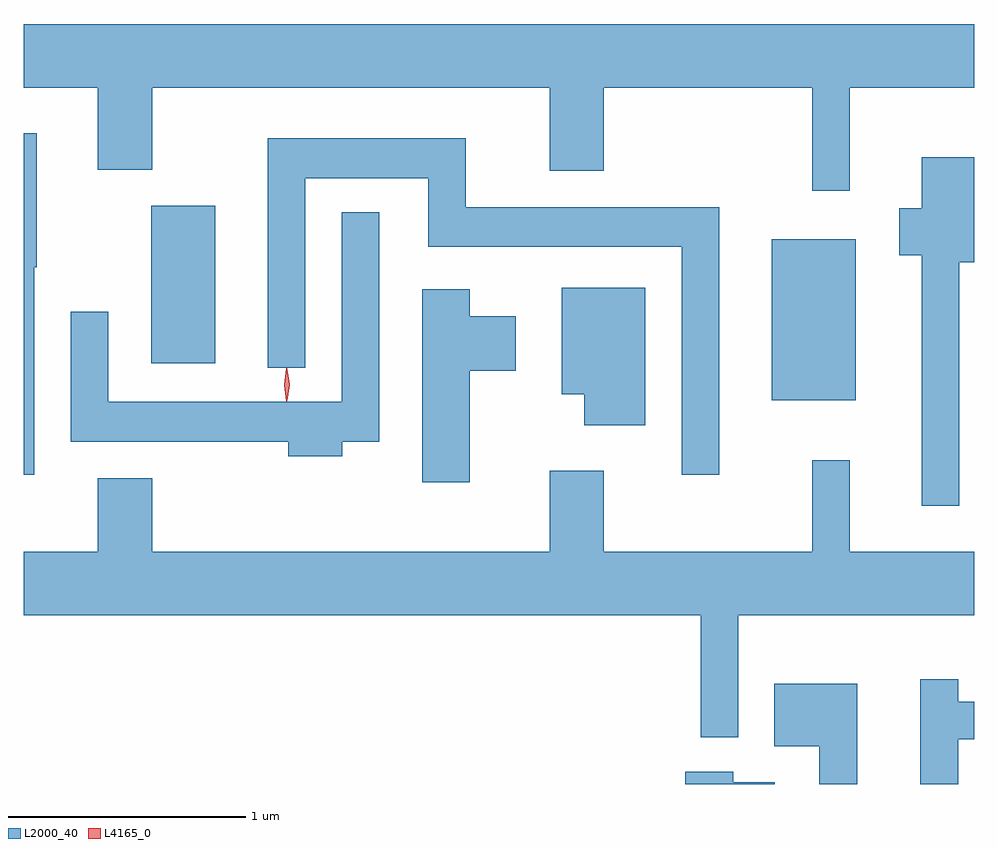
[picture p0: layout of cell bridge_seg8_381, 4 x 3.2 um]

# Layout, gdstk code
import gdstk
lib = gdstk.Library(unit=1e-6, precision=1e-09)
def R(c, l, rs):  # rectangles x0, y0, x1, y1
    for r in rs: c.add(gdstk.rectangle(r[:2], r[2:], *l))
def P(c, l, *ps):  # polygons
    for p in ps: c.add(gdstk.Polygon(p, *l))
L2000_40 = (2000, 40)
L4165_0 = (4165, 0)

bridge_seg8_381 = lib.new_cell('bridge_seg8_381')
R(bridge_seg8_381, L2000_40, [(719.226,1917.241,719.579,1917.919), (716.616,1917.396,716.884,1918.059)])
P(bridge_seg8_381, L2000_40, [(719.554,1918.556),(720.078,1918.556),(720.078,1918.824),(716.078,1918.824),(716.078,1918.556),(716.391,1918.556),(716.391,1918.211),(716.619,1918.211),(716.619,1918.556),(718.291,1918.556),(718.291,1918.206),(718.519,1918.206),(718.519,1918.556),(719.396,1918.556),(719.396,1918.123),(719.554,1918.123)],
  [(716.124,1917.8),(716.134,1917.8),(716.134,1918.364),(716.078,1918.364),(716.078,1916.928),(716.124,1916.928)],
  [(719.004,1918.054),(717.939,1918.054),(717.939,1918.344),(717.106,1918.344),(717.106,1917.378),(717.264,1917.378),(717.264,1918.176),(717.781,1918.176),(717.781,1917.886),(718.846,1917.886),(718.846,1916.928),(719.004,1916.928)],
  [(720.014,1917.821),(720.078,1917.821),(720.078,1918.264),(719.856,1918.264),(719.856,1918.049),(719.761,1918.049),(719.761,1917.851),(719.856,1917.851),(719.856,1916.798),(720.014,1916.798)],
  [(717.419,1917.066),(717.574,1917.066),(717.574,1918.033),(717.416,1918.033),(717.416,1917.234),(716.434,1917.234),(716.434,1917.613),(716.276,1917.613),(716.276,1917.066),(717.191,1917.066),(717.191,1917.006),(717.419,1917.006)],
  [(718.694,1917.714),(718.341,1917.714),(718.341,1917.266),(718.436,1917.266),(718.436,1917.136),(718.694,1917.136)],
  [(717.954,1917.366),(718.149,1917.366),(718.149,1917.594),(717.954,1917.594),(717.954,1917.709),(717.756,1917.709),(717.756,1916.896),(717.954,1916.896)],
  [(719.084,1916.336),(720.078,1916.336),(720.078,1916.604),(719.554,1916.604),(719.554,1916.988),(719.396,1916.988),(719.396,1916.604),(718.519,1916.604),(718.519,1916.944),(718.291,1916.944),(718.291,1916.604),(716.619,1916.604),(716.619,1916.914),(716.391,1916.914),(716.391,1916.604),(716.078,1916.604),(716.078,1916.336),(718.926,1916.336),(718.926,1915.823),(719.084,1915.823)],
  [(720.009,1915.816),(720.078,1915.816),(720.078,1915.974),(720.009,1915.974),(720.009,1916.068),(719.851,1916.068),(719.851,1915.627),(720.009,1915.627)],
  [(719.584,1916.049),(719.236,1916.049),(719.236,1915.786),(719.426,1915.786),(719.426,1915.627),(719.584,1915.627)],
  [(719.239,1915.634),(719.064,1915.634),(719.064,1915.679),(718.861,1915.679),(718.861,1915.627),(719.239,1915.627)])
P(bridge_seg8_381, L4165_0, [(717.187,1917.24),(717.187,1917.24),(717.177,1917.306),(717.186,1917.372),(717.187,1917.373),(717.187,1917.372),(717.197,1917.306),(717.188,1917.24)],
  [(717.184,1917.237),(717.175,1917.306),(717.184,1917.376),(717.185,1917.376),(717.185,1917.376),(717.195,1917.306),(717.185,1917.237),(717.185,1917.237)])

lib.write_gds('bridge_seg8_381.gds')
